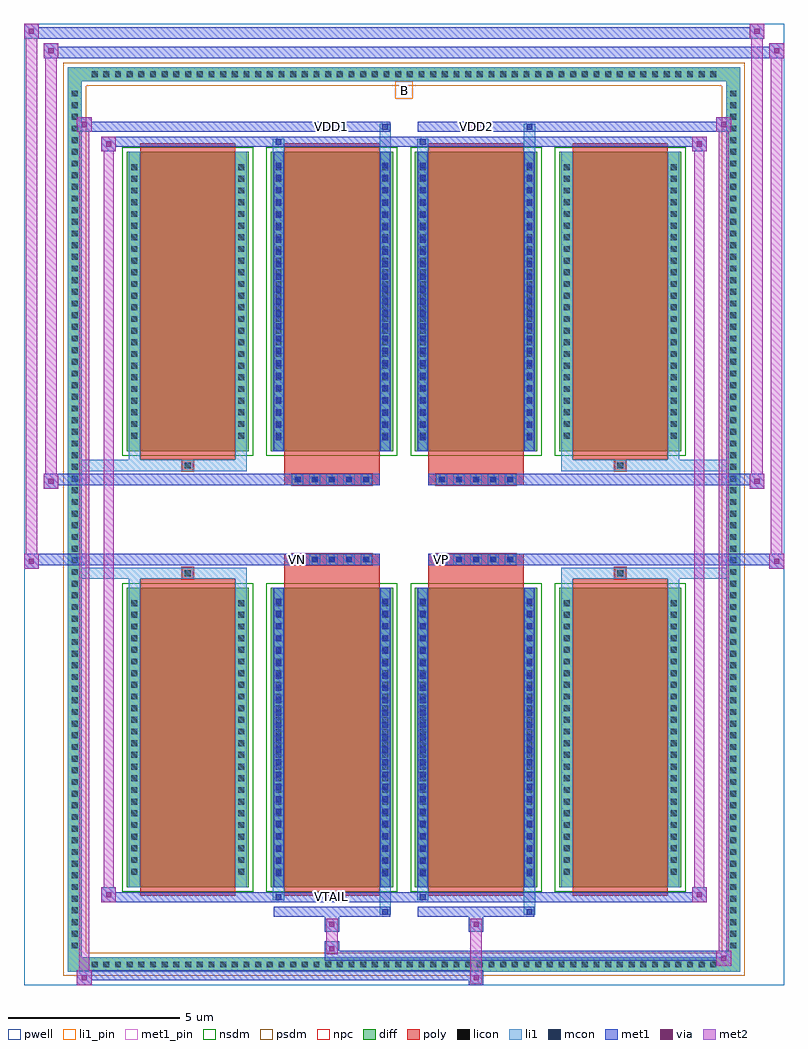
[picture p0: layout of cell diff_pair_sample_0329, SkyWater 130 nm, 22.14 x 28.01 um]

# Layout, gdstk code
import gdstk
lib = gdstk.Library(unit=1e-6, precision=5e-09)
def R(c, l, rs):  # rectangles x0, y0, x1, y1
    for r in rs: c.add(gdstk.rectangle(r[:2], r[2:], *l))
def A(c, l, x, y, w, h, nx, ny, dx, dy):  # array of equal rectangles
    R(c, l, [(x+i*dx, y+j*dy, x+i*dx+w, y+j*dy+h) for i in range(nx) for j in range(ny)])
def P(c, l, *ps):  # polygons
    for p in ps: c.add(gdstk.Polygon(p, *l))
pwell = (64, 44)
diff = (65, 20)
poly = (66, 20)
licon = (66, 44)
li1_pin = (67, 16)
li1 = (67, 20)
mcon = (67, 44)
met1_pin = (68, 16)
met1 = (68, 20)
via = (68, 44)
met2 = (69, 20)
nsdm = (93, 44)
psdm = (94, 20)
npc = (95, 20)

diff_pair_sample_0329 = lib.new_cell('diff_pair_sample_0329')
R(diff_pair_sample_0329, pwell, [(-11.07,-13.57,11.07,14.44), (-8.39,-11.76,-0.01,-0.8), (0.01,-11.76,8.39,-0.8), (-8.39,0.8,-0.01,11.76), (0.01,0.8,8.39,11.76)])
A(diff_pair_sample_0329, diff, -9.215, -13.17, 0.41, 0.41, 54, 2, 0.34, 25.93)
A(diff_pair_sample_0329, diff, -9.8, -12.615, 0.41, 0.41, 1, 74, 0, 0.34)
A(diff_pair_sample_0329, diff, 9.39, -12.615, 0.41, 0.41, 1, 74, 0, 0.34)
A(diff_pair_sample_0329, diff, -8.08, -10.715, 3.56, 8.73, 4, 2, 4.2, 12.7)
R(diff_pair_sample_0329, diff, [(-9.215,-13.17,9.215,-12.76), (-9.8,-12.615,-9.39,12.615), (9.39,-12.615,9.8,12.615), (-9.215,12.76,9.215,13.17)])
P(diff_pair_sample_0329, diff, [(9.8,13.17),(-9.8,13.17),(-9.8,-12.76),(-9.39,-12.76),(-9.39,12.76),(9.39,12.76),(9.39,-12.76),(-9.39,-12.76),(-9.8,-12.76),(-9.8,-13.17),(9.8,-13.17)])
A(diff_pair_sample_0329, poly, -7.69, -10.965, 2.78, 9.23, 4, 2, 4.2, 12.7)
A(diff_pair_sample_0329, poly, -3.265, -1.33, 0.33, 0.33, 5, 2, 0.5, 2.33)
A(diff_pair_sample_0329, poly, 0.935, -1.33, 0.33, 0.33, 5, 2, 0.5, 2.33)
R(diff_pair_sample_0329, poly, [(-6.465,-1.735,-6.135,-1.405), (-6.465,-1.735,-6.135,-1.405), (-3.49,-1.735,-0.71,-1.33), (0.71,-1.735,3.49,-1.33), (6.135,-1.735,6.465,-1.405), (6.135,-1.735,6.465,-1.405), (-3.49,-1.33,-0.71,-1), (0.71,-1.33,3.49,-1), (-3.49,1,-0.71,1.33), (0.71,1,3.49,1.33), (-3.49,1.33,-0.71,1.735), (0.71,1.33,3.49,1.735), (-6.465,1.405,-6.135,1.735), (-6.465,1.405,-6.135,1.735), (6.135,1.405,6.465,1.735), (6.135,1.405,6.465,1.735)])
A(diff_pair_sample_0329, licon, -9.095, -13.05, 0.17, 0.17, 54, 2, 0.34, 25.93)
A(diff_pair_sample_0329, licon, -9.68, -12.495, 0.17, 0.17, 1, 74, 0, 0.34)
A(diff_pair_sample_0329, licon, 9.51, -12.495, 0.17, 0.17, 1, 74, 0, 0.34)
A(diff_pair_sample_0329, licon, -7.94, -10.345, 0.17, 0.17, 1, 24, 0, 0.34)
A(diff_pair_sample_0329, licon, -4.83, -10.345, 0.17, 0.17, 1, 24, 0, 0.34)
A(diff_pair_sample_0329, licon, -3.74, -10.345, 0.17, 0.17, 1, 24, 0, 0.34)
A(diff_pair_sample_0329, licon, -0.63, -10.345, 0.17, 0.17, 1, 24, 0, 0.34)
A(diff_pair_sample_0329, licon, 0.46, -10.345, 0.17, 0.17, 1, 24, 0, 0.34)
A(diff_pair_sample_0329, licon, 3.57, -10.345, 0.17, 0.17, 1, 24, 0, 0.34)
A(diff_pair_sample_0329, licon, 4.66, -10.345, 0.17, 0.17, 1, 24, 0, 0.34)
A(diff_pair_sample_0329, licon, 7.77, -10.345, 0.17, 0.17, 1, 24, 0, 0.34)
A(diff_pair_sample_0329, licon, -3.185, -1.25, 0.17, 0.17, 5, 2, 0.5, 2.33)
A(diff_pair_sample_0329, licon, 1.015, -1.25, 0.17, 0.17, 5, 2, 0.5, 2.33)
A(diff_pair_sample_0329, licon, -7.94, 2.355, 0.17, 0.17, 1, 24, 0, 0.34)
A(diff_pair_sample_0329, licon, -4.83, 2.355, 0.17, 0.17, 1, 24, 0, 0.34)
A(diff_pair_sample_0329, licon, -3.74, 2.355, 0.17, 0.17, 1, 24, 0, 0.34)
A(diff_pair_sample_0329, licon, -0.63, 2.355, 0.17, 0.17, 1, 24, 0, 0.34)
A(diff_pair_sample_0329, licon, 0.46, 2.355, 0.17, 0.17, 1, 24, 0, 0.34)
A(diff_pair_sample_0329, licon, 3.57, 2.355, 0.17, 0.17, 1, 24, 0, 0.34)
A(diff_pair_sample_0329, licon, 4.66, 2.355, 0.17, 0.17, 1, 24, 0, 0.34)
A(diff_pair_sample_0329, licon, 7.77, 2.355, 0.17, 0.17, 1, 24, 0, 0.34)
R(diff_pair_sample_0329, licon, [(-6.385,-1.655,-6.215,-1.485), (6.215,-1.655,6.385,-1.485), (-6.385,1.485,-6.215,1.655), (6.215,1.485,6.385,1.655)])
R(diff_pair_sample_0329, li1_pin, [(-0.25,12.26,0.25,12.76)])
A(diff_pair_sample_0329, li1, -9.175, -13.13, 0.33, 0.33, 54, 2, 0.34, 25.93)
A(diff_pair_sample_0329, li1, -9.76, -12.575, 0.33, 0.33, 1, 74, 0, 0.34)
A(diff_pair_sample_0329, li1, 9.43, -12.575, 0.33, 0.33, 1, 74, 0, 0.34)
A(diff_pair_sample_0329, li1, -8.02, -10.425, 0.33, 0.33, 1, 24, 0, 0.34)
A(diff_pair_sample_0329, li1, -4.91, -10.425, 0.33, 0.33, 1, 24, 0, 0.34)
A(diff_pair_sample_0329, li1, -3.82, -10.425, 0.33, 0.33, 1, 24, 0, 0.34)
A(diff_pair_sample_0329, li1, -0.71, -10.425, 0.33, 0.33, 1, 24, 0, 0.34)
A(diff_pair_sample_0329, li1, 0.38, -10.425, 0.33, 0.33, 1, 24, 0, 0.34)
A(diff_pair_sample_0329, li1, 3.49, -10.425, 0.33, 0.33, 1, 24, 0, 0.34)
A(diff_pair_sample_0329, li1, 4.58, -10.425, 0.33, 0.33, 1, 24, 0, 0.34)
A(diff_pair_sample_0329, li1, 7.69, -10.425, 0.33, 0.33, 1, 24, 0, 0.34)
A(diff_pair_sample_0329, li1, -3.74, -10.395, 0.17, 0.17, 1, 23, 0, 0.36)
A(diff_pair_sample_0329, li1, -0.63, -10.395, 0.17, 0.17, 1, 23, 0, 0.36)
A(diff_pair_sample_0329, li1, 0.46, -10.395, 0.17, 0.17, 1, 23, 0, 0.36)
A(diff_pair_sample_0329, li1, 3.57, -10.395, 0.17, 0.17, 1, 23, 0, 0.36)
A(diff_pair_sample_0329, li1, -3.265, -1.33, 0.33, 0.33, 5, 2, 0.5, 2.33)
A(diff_pair_sample_0329, li1, 0.935, -1.33, 0.33, 0.33, 5, 2, 0.5, 2.33)
A(diff_pair_sample_0329, li1, -8.02, 2.275, 0.33, 0.33, 1, 24, 0, 0.34)
A(diff_pair_sample_0329, li1, -4.91, 2.275, 0.33, 0.33, 1, 24, 0, 0.34)
A(diff_pair_sample_0329, li1, -3.82, 2.275, 0.33, 0.33, 1, 24, 0, 0.34)
A(diff_pair_sample_0329, li1, -0.71, 2.275, 0.33, 0.33, 1, 24, 0, 0.34)
A(diff_pair_sample_0329, li1, 0.38, 2.275, 0.33, 0.33, 1, 24, 0, 0.34)
A(diff_pair_sample_0329, li1, 3.49, 2.275, 0.33, 0.33, 1, 24, 0, 0.34)
A(diff_pair_sample_0329, li1, 4.58, 2.275, 0.33, 0.33, 1, 24, 0, 0.34)
A(diff_pair_sample_0329, li1, 7.69, 2.275, 0.33, 0.33, 1, 24, 0, 0.34)
A(diff_pair_sample_0329, li1, -3.74, 2.305, 0.17, 0.17, 1, 23, 0, 0.36)
A(diff_pair_sample_0329, li1, -0.63, 2.305, 0.17, 0.17, 1, 23, 0, 0.36)
A(diff_pair_sample_0329, li1, 0.46, 2.305, 0.17, 0.17, 1, 23, 0, 0.36)
A(diff_pair_sample_0329, li1, 3.57, 2.305, 0.17, 0.17, 1, 23, 0, 0.36)
R(diff_pair_sample_0329, li1, [(-9.8,-13.17,-9.39,-12.76), (-9.8,-13.17,-9.39,-12.76), (-9.39,-13.17,9.39,-12.76), (9.39,-13.17,9.8,-12.76), (9.39,-13.17,9.8,-12.76), (-9.8,-12.76,-9.39,12.76), (9.39,-12.76,9.8,12.76), (-0.71,-11.52,-0.38,-10.715), (-0.63,-11.52,-0.46,-11.35), (3.49,-11.52,3.82,-10.715), (3.57,-11.52,3.74,-11.35), (-3.82,-11.09,-3.49,-10.715), (-3.74,-11.09,-3.57,-10.92), (0.38,-11.09,0.71,-10.715), (0.46,-11.09,0.63,-10.92), (-8.02,-10.715,-7.69,-1.985), (-4.91,-10.715,-4.58,-1.985), (-3.82,-10.715,-3.49,-1.985), (-0.71,-10.715,-0.38,-1.985), (0.38,-10.715,0.71,-1.985), (3.49,-10.715,3.82,-1.985), (4.58,-10.715,4.91,-1.985), (7.69,-10.715,8.02,-1.985), (-3.74,-10.395,-3.57,-2.305), (-0.63,-10.395,-0.46,-2.305), (0.46,-10.395,0.63,-2.305), (3.57,-10.395,3.74,-2.305), (-8.02,-1.985,-7.69,-1.405), (-4.91,-1.985,-4.58,-1.405), (4.58,-1.985,4.91,-1.405), (7.69,-1.985,8.02,-1.405), (-9.8,-1.735,-6.465,-1.405), (-8.02,-1.735,-6.465,-1.405), (-6.465,-1.735,-6.135,-1.405), (-6.135,-1.735,-4.58,-1.405), (4.58,-1.735,6.135,-1.405), (6.135,-1.735,6.465,-1.405), (6.135,-1.735,9.8,-1.405), (6.465,-1.735,8.02,-1.405), (-9.8,1.405,-6.465,1.735), (-8.02,1.405,-6.465,1.735), (-8.02,1.405,-7.69,1.985), (-6.465,1.405,-6.135,1.735), (-6.135,1.405,-4.58,1.735), (-4.91,1.405,-4.58,1.985), (4.58,1.405,6.135,1.735), (4.58,1.405,4.91,1.985), (6.135,1.405,6.465,1.735), (6.135,1.405,9.8,1.735), (6.465,1.405,8.02,1.735), (7.69,1.405,8.02,1.985), (-8.02,1.985,-7.69,10.715), (-4.91,1.985,-4.58,10.715), (-3.82,1.985,-3.49,10.715), (-0.71,1.985,-0.38,10.715), (0.38,1.985,0.71,10.715), (3.49,1.985,3.82,10.715), (4.58,1.985,4.91,10.715), (7.69,1.985,8.02,10.715), (-3.74,2.305,-3.57,10.395), (-0.63,2.305,-0.46,10.395), (0.46,2.305,0.63,10.395), (3.57,2.305,3.74,10.395), (-3.82,10.715,-3.49,11.09), (-0.71,10.715,-0.38,11.52), (0.38,10.715,0.71,11.09), (3.49,10.715,3.82,11.52), (-3.74,10.92,-3.57,11.09), (0.46,10.92,0.63,11.09), (-0.63,11.35,-0.46,11.52), (3.57,11.35,3.74,11.52), (-9.8,12.76,-9.39,13.17), (-9.8,12.76,-9.39,13.17), (-9.39,12.76,9.39,13.17), (9.39,12.76,9.8,13.17), (9.39,12.76,9.8,13.17)])
A(diff_pair_sample_0329, mcon, -3.74, -10.395, 0.17, 0.17, 1, 23, 0, 0.36)
A(diff_pair_sample_0329, mcon, -0.63, -10.395, 0.17, 0.17, 1, 23, 0, 0.36)
A(diff_pair_sample_0329, mcon, 0.46, -10.395, 0.17, 0.17, 1, 23, 0, 0.36)
A(diff_pair_sample_0329, mcon, 3.57, -10.395, 0.17, 0.17, 1, 23, 0, 0.36)
A(diff_pair_sample_0329, mcon, -3.185, -1.25, 0.17, 0.17, 5, 2, 0.5, 2.33)
A(diff_pair_sample_0329, mcon, 1.015, -1.25, 0.17, 0.17, 5, 2, 0.5, 2.33)
A(diff_pair_sample_0329, mcon, -3.74, 2.305, 0.17, 0.17, 1, 23, 0, 0.36)
A(diff_pair_sample_0329, mcon, -0.63, 2.305, 0.17, 0.17, 1, 23, 0, 0.36)
A(diff_pair_sample_0329, mcon, 0.46, 2.305, 0.17, 0.17, 1, 23, 0, 0.36)
A(diff_pair_sample_0329, mcon, 3.57, 2.305, 0.17, 0.17, 1, 23, 0, 0.36)
R(diff_pair_sample_0329, mcon, [(-0.63,-11.52,-0.46,-11.35), (3.57,-11.52,3.74,-11.35), (-3.74,-11.09,-3.57,-10.92), (0.46,-11.09,0.63,-10.92), (-3.74,10.92,-3.57,11.09), (0.46,10.92,0.63,11.09), (-0.63,11.35,-0.46,11.52), (3.57,11.35,3.74,11.52)])
R(diff_pair_sample_0329, met1_pin, [(-2.235,-11.13,-1.965,-10.86), (-3.235,-1.29,-2.965,-1.02), (0.965,-1.29,1.235,-1.02), (-2.235,11.31,-1.965,11.58), (1.965,11.31,2.235,11.58)])
A(diff_pair_sample_0329, met1, -3.8, -10.455, 0.29, 0.29, 1, 23, 0, 0.36)
A(diff_pair_sample_0329, met1, -0.69, -10.455, 0.29, 0.29, 1, 23, 0, 0.36)
A(diff_pair_sample_0329, met1, 0.4, -10.455, 0.29, 0.29, 1, 23, 0, 0.36)
A(diff_pair_sample_0329, met1, 3.51, -10.455, 0.29, 0.29, 1, 23, 0, 0.36)
A(diff_pair_sample_0329, met1, -3.245, -1.31, 0.29, 0.29, 5, 2, 0.5, 2.33)
A(diff_pair_sample_0329, met1, 0.955, -1.31, 0.29, 0.29, 5, 2, 0.5, 2.33)
A(diff_pair_sample_0329, met1, -3.8, 2.245, 0.29, 0.29, 1, 23, 0, 0.36)
A(diff_pair_sample_0329, met1, -0.69, 2.245, 0.29, 0.29, 1, 23, 0, 0.36)
A(diff_pair_sample_0329, met1, 0.4, 2.245, 0.29, 0.29, 1, 23, 0, 0.36)
A(diff_pair_sample_0329, met1, 3.51, 2.245, 0.29, 0.29, 1, 23, 0, 0.36)
R(diff_pair_sample_0329, met1, [(-9.53,-13.57,-9.1,-13.14), (1.885,-13.57,2.315,-13.14), (-9.53,-13.43,2.315,-13.14), (9.1,-13,9.53,-12.57), (-2.315,-12.86,9.53,-12.57), (-2.315,-12.72,-1.885,-12.29), (-2.315,-12.01,-1.885,-11.58), (1.885,-12.01,2.315,-11.58), (-3.8,-11.58,-0.4,-11.29), (-0.69,-11.58,-0.4,-11.29), (0.4,-11.58,3.8,-11.29), (3.51,-11.58,3.8,-11.29), (-8.82,-11.15,-8.39,-10.72), (-8.82,-11.15,-3.8,-10.86), (-3.8,-11.15,-3.51,-10.86), (-3.8,-11.15,-0.4,-10.86), (-0.4,-11.15,0.4,-10.86), (0.4,-11.15,0.69,-10.86), (0.4,-11.15,3.8,-10.86), (3.8,-11.15,8.82,-10.86), (8.39,-11.15,8.82,-10.72), (-3.8,-10.715,-3.51,-1.985), (-0.69,-10.715,-0.4,-1.985), (0.4,-10.715,0.69,-1.985), (3.51,-10.715,3.8,-1.985), (-11.07,-1.43,-10.64,-1), (10.64,-1.43,11.07,-1), (-11.07,-1.33,-0.71,-1), (-3.49,-1.33,-0.71,-1), (0.71,-1.33,3.49,-1), (0.71,-1.33,11.07,-1), (-10.5,0.9,-10.07,1.33), (10.07,0.9,10.5,1.33), (-10.5,1,-3.49,1.33), (-3.49,1,-0.71,1.33), (0.71,1,3.49,1.33), (3.49,1,10.5,1.33), (-3.8,1.985,-3.51,10.715), (-0.69,1.985,-0.4,10.715), (0.4,1.985,0.69,10.715), (3.51,1.985,3.8,10.715), (-8.82,10.72,-8.39,11.15), (8.39,10.72,8.82,11.15), (-8.82,10.86,-3.8,11.15), (-3.8,10.86,-3.51,11.15), (-3.8,10.86,-0.4,11.15), (-0.4,10.86,0.4,11.15), (0.4,10.86,0.69,11.15), (0.4,10.86,3.8,11.15), (3.8,10.86,8.82,11.15), (-9.53,11.29,-9.1,11.72), (-9.53,11.29,-3.8,11.58), (-3.8,11.29,-0.4,11.58), (-0.69,11.29,-0.4,11.58), (0.4,11.29,3.8,11.58), (3.51,11.29,3.8,11.58), (3.8,11.29,9.53,11.58), (9.1,11.29,9.53,11.72), (-10.5,13.44,-10.07,13.87), (-10.5,13.44,-8.39,13.77), (-8.39,13.44,8.39,13.77), (8.39,13.44,11.07,13.77), (10.64,13.44,11.07,13.87), (-11.07,14.01,-10.64,14.44), (-11.07,14.01,-8.39,14.34), (-8.39,14.01,8.39,14.34), (8.39,14.01,10.5,14.34), (10.07,14.01,10.5,14.44)])
R(diff_pair_sample_0329, via, [(-9.39,-13.43,-9.24,-13.28), (2.025,-13.43,2.175,-13.28), (9.24,-12.86,9.39,-12.71), (-2.175,-12.58,-2.025,-12.43), (-2.175,-11.87,-2.025,-11.72), (2.025,-11.87,2.175,-11.72), (-8.68,-11.01,-8.53,-10.86), (8.53,-11.01,8.68,-10.86), (-10.93,-1.29,-10.78,-1.14), (10.78,-1.29,10.93,-1.14), (-10.36,1.04,-10.21,1.19), (10.21,1.04,10.36,1.19), (-8.68,10.86,-8.53,11.01), (8.53,10.86,8.68,11.01), (-9.39,11.43,-9.24,11.58), (9.24,11.43,9.39,11.58), (-10.36,13.58,-10.21,13.73), (10.78,13.58,10.93,13.73), (-10.93,14.15,-10.78,14.3), (10.21,14.15,10.36,14.3)])
R(diff_pair_sample_0329, met2, [(-9.53,-13.57,-9.1,-13.14), (-9.46,-13.57,-9.17,11.72), (-9.17,-13.57,-9.1,-13.14), (-9.48,-13.52,-9.15,-13.19), (1.935,-13.52,2.265,-13.19), (1.935,-13.19,2.265,-11.96), (9.1,-13,9.53,-12.57), (9.17,-13,9.46,11.72), (9.46,-13,9.53,-12.57), (9.15,-12.95,9.48,-12.62), (-2.265,-12.67,-1.935,-12.34), (-2.265,-12.34,-1.935,-11.96), (-2.265,-11.96,-1.935,-11.63), (1.935,-11.96,2.265,-11.63), (-8.82,-11.15,-8.39,-10.72), (-8.75,-11.15,-8.46,11.15), (-8.46,-11.15,-8.39,-10.72), (8.39,-11.15,8.82,-10.72), (8.46,-11.15,8.75,11.15), (8.75,-11.15,8.82,-10.72), (-8.77,-11.1,-8.44,-10.77), (8.44,-11.1,8.77,-10.77), (-11.07,-1.43,-10.64,-1), (-11.02,-1.43,-10.69,14.44), (-10.69,-1.43,-10.64,-1), (10.64,-1.43,11.07,-1), (10.69,-1.43,11.02,13.87), (11.02,-1.43,11.07,-1), (-11.02,-1.38,-10.69,-1.05), (10.69,-1.38,11.02,-1.05), (-10.5,0.9,-10.07,1.33), (-10.45,0.9,-10.12,13.87), (-10.12,0.9,-10.07,1.33), (10.07,0.9,10.5,1.33), (10.12,0.9,10.45,14.44), (10.45,0.9,10.5,1.33), (-10.45,0.95,-10.12,1.28), (10.12,0.95,10.45,1.28), (-8.82,10.72,-8.39,11.15), (-8.46,10.72,-8.39,11.15), (8.39,10.72,8.82,11.15), (8.75,10.72,8.82,11.15), (-8.77,10.77,-8.44,11.1), (8.44,10.77,8.77,11.1), (-9.53,11.29,-9.1,11.72), (-9.17,11.29,-9.1,11.72), (9.1,11.29,9.53,11.72), (9.46,11.29,9.53,11.72), (-9.48,11.34,-9.15,11.67), (9.15,11.34,9.48,11.67), (-10.5,13.44,-10.07,13.87), (-10.12,13.44,-10.07,13.87), (10.64,13.44,11.07,13.87), (11.02,13.44,11.07,13.87), (-10.45,13.49,-10.12,13.82), (10.69,13.49,11.02,13.82), (-11.07,14.01,-10.64,14.44), (-10.69,14.01,-10.64,14.44), (10.07,14.01,10.5,14.44), (10.45,14.01,10.5,14.44), (-11.02,14.06,-10.69,14.39), (10.12,14.06,10.45,14.39)])
A(diff_pair_sample_0329, nsdm, -8.21, -10.845, 3.82, 8.99, 4, 2, 4.2, 12.7)
P(diff_pair_sample_0329, psdm, [(9.93,13.3),(-9.93,13.3),(-9.93,-12.63),(-9.26,-12.63),(-9.26,12.63),(9.26,12.63),(9.26,-12.63),(-9.26,-12.63),(-9.93,-12.63),(-9.93,-13.3),(9.93,-13.3)])
A(diff_pair_sample_0329, npc, -3.285, -1.35, 0.37, 0.37, 5, 2, 0.5, 2.33)
A(diff_pair_sample_0329, npc, 0.915, -1.35, 0.37, 0.37, 5, 2, 0.5, 2.33)
R(diff_pair_sample_0329, npc, [(-6.485,-1.755,-6.115,-1.385), (6.115,-1.755,6.485,-1.385), (-3.285,-1.35,-2.415,-0.98), (-3.285,-1.35,-2.415,-0.98), (-2.785,-1.35,-1.915,-0.98), (-2.785,-1.35,-1.915,-0.98), (-2.285,-1.35,-1.415,-0.98), (-2.285,-1.35,-1.415,-0.98), (-1.785,-1.35,-0.915,-0.98), (-1.785,-1.35,-0.915,-0.98), (0.915,-1.35,1.785,-0.98), (0.915,-1.35,1.785,-0.98), (1.415,-1.35,2.285,-0.98), (1.415,-1.35,2.285,-0.98), (1.915,-1.35,2.785,-0.98), (1.915,-1.35,2.785,-0.98), (2.415,-1.35,3.285,-0.98), (2.415,-1.35,3.285,-0.98), (-3.285,0.98,-2.415,1.35), (-3.285,0.98,-2.415,1.35), (-2.785,0.98,-1.915,1.35), (-2.785,0.98,-1.915,1.35), (-2.285,0.98,-1.415,1.35), (-2.285,0.98,-1.415,1.35), (-1.785,0.98,-0.915,1.35), (-1.785,0.98,-0.915,1.35), (0.915,0.98,1.785,1.35), (0.915,0.98,1.785,1.35), (1.415,0.98,2.285,1.35), (1.415,0.98,2.285,1.35), (1.915,0.98,2.785,1.35), (1.915,0.98,2.785,1.35), (2.415,0.98,3.285,1.35), (2.415,0.98,3.285,1.35), (-6.485,1.385,-6.115,1.755), (6.115,1.385,6.485,1.755)])
diff_pair_sample_0329.add(gdstk.Label('VTAIL', (-2.1,-10.995), layer=68, texttype=5))
diff_pair_sample_0329.add(gdstk.Label('VN', (-3.1,-1.155), layer=68, texttype=5))
diff_pair_sample_0329.add(gdstk.Label('VP', (1.1,-1.155), layer=68, texttype=5))
diff_pair_sample_0329.add(gdstk.Label('B', (0,12.51), layer=67, texttype=5))
diff_pair_sample_0329.add(gdstk.Label('VDD2', (2.1,11.445), layer=68, texttype=5))
diff_pair_sample_0329.add(gdstk.Label('VDD1', (-2.1,11.445), layer=68, texttype=5))

lib.write_gds('diff_pair_sample_0329.gds')
